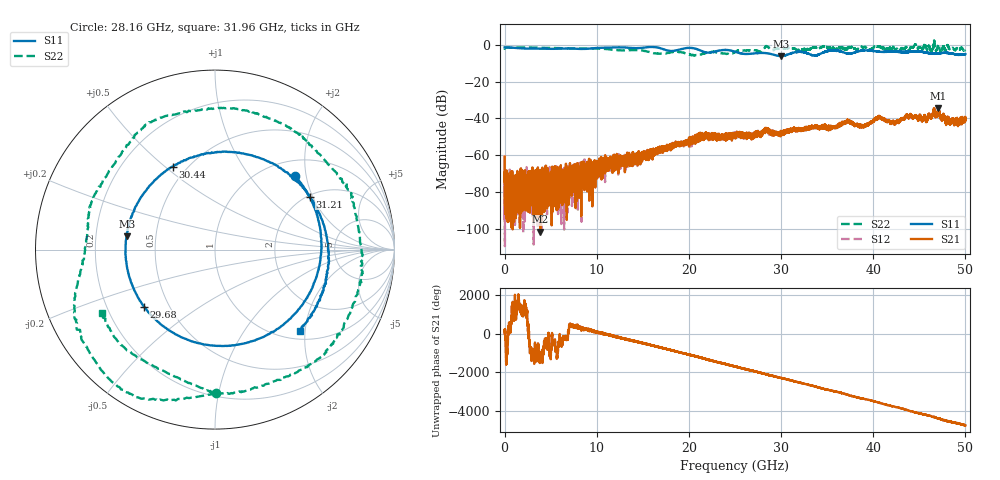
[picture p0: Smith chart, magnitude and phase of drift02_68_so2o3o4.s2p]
!Created with skrf (http://scikit-rf.org).
# Hz S RI R 50.0
!freq ReS11 ImS11 ReS21 ImS21 ReS12 ImS12 ReS22 ImS22
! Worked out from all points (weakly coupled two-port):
!   10001 points, 300 kHz to 50 GHz, reference 50 ohm
!   highest |S21| = -34.35 dB at 47.07 GHz (marker M1); lowest = -101.5 dB at 3.865 GHz (marker M2)
!   lowest |S11| = -6.1 dB at 30.03 GHz (marker M3), VSWR 2.98, Z = 16.9 + j3.31 ohm
!   |S11| at or under -10 dB: nowhere
!   |S22| runs from -5.7 to 2.5 dB; largest |S21 - S12| = 0.0034
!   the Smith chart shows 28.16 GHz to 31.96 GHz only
!   S11 on the Smith chart (normalised r, x): 28.16 GHz: 1.34, +1.73; 29.68 GHz: 0.36, -0.31; 30.44 GHz: 0.42, +0.53; 31.21 GHz: 2.04, +1.91; 31.96 GHz: 1.19, -1.87
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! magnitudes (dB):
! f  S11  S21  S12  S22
! 300 kHz  -1.3  -60.8  -67.4  -2.0
! 290.3 MHz  -1.3  -81.3  -90.3  -1.4
! 3.865 GHz  -2.0  -101.5  -81.4  -1.5
! 8.335 GHz  -2.2  -69.5  -71.3  -1.9
! 16.67 GHz  -1.4  -58.0  -58.2  -4.7
! 21.32 GHz  -3.2  -49.9  -48.9  -5.2
! 25 GHz  -3.7  -49.1  -49.3  -3.9
! 28.16 GHz  -4.4  -46.5  -46.8  -1.9
! 29.68 GHz  -5.9  -48.3  -48.6  -2.1
! 30.03 GHz  -6.1  -47.7  -47.8  -2.0
! 30.44 GHz  -5.7  -47.4  -47.5  -1.8
! 31.21 GHz  -4.4  -46.2  -46.1  -1.7
! 31.96 GHz  -3.7  -45.4  -46.3  -2.8
! 33.34 GHz  -5.5  -45.2  -44.9  -1.6
! 35.59 GHz  -3.0  -44.9  -44.8  -1.6
! 37.27 GHz  -4.7  -41.3  -41.3  -1.5
! 38.86 GHz  -3.1  -44.2  -44.2  -1.4
! 40.62 GHz  -3.6  -39.2  -39.0  -1.1
! 41.67 GHz  -3.6  -40.8  -41.3  -1.9
! 47.07 GHz  -4.6  -34.3  -35.0  0.5
! 48.49 GHz  -4.6  -41.6  -41.9  -1.6
! 50 GHz  -4.9  -39.9  -40.9  -2.8
